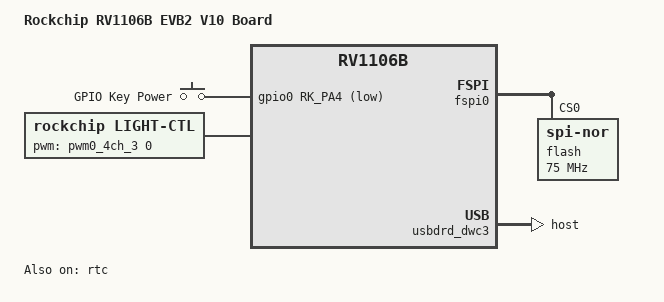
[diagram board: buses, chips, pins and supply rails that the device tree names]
// SPDX-License-Identifier: (GPL-2.0+ OR MIT)
/*
 * Copyright (c) 2026 Rockchip Electronics Co., Ltd.
 */
/dts-v1/;
#include "rv1106b-evb2-v10-normal.dts"

/ {
	model = "Rockchip RV1106B EVB2 V10 Board";
	compatible = "rockchip,rv1106b-evb2-v10-normal-spi-nor", "rockchip,rv1106b";

	gpio-keys {
		compatible = "gpio-keys";
		autorepeat;
		pinctrl-names = "default";
		pinctrl-0 = <&pwr_key>;
		power-key {
			gpios = <&gpio0 RK_PA4 GPIO_ACTIVE_LOW>;
			linux,code = <KEY_POWER>;
			label ="GPIO Key Power";
			debounce-interval = <100>;
			wakeup-source;
			/* gpio-key,wakeup; */
		};
	};

	light-ctl {
		compatible = "rockchip,light-ctl";
		status = "okay";
		pwms = <&pwm0_4ch_3 0 10000 1>;
		rockchip,module-index = <0>; // Same as camera index this light belong to.
	};
};

&fspi0 {
	status = "okay";

	flash@0 {
		compatible = "jedec,spi-nor";
		reg = <0>;
		spi-max-frequency = <75000000>;
		spi-rx-bus-width = <4>;
		spi-tx-bus-width = <1>;
	};
};

&pinctrl {
	buttons {
		pwr_key: pwr-key {
			rockchip,pins = <0 RK_PA4 RK_FUNC_GPIO &pcfg_pull_up>;
		};
	};
};

&rockchip_suspend {
	status = "okay";

	rockchip,sleep-io-config = <
		/* pmic_sleep */
		(0
		| RKPM_IO_CFG_IOMUX_GPIO
		| RKPM_IO_CFG_GPIO_DIR_INPUT
		| RKPM_IO_CFG_PULL_DOWN
		| RKPM_IO_CFG_ID(0)
		)
		(0
		| RKPM_IO_CFG_IOMUX_GPIO
		| RKPM_IO_CFG_GPIO_DIR_INPUT
		| RKPM_IO_CFG_PULL_NONE
		| RKPM_IO_CFG_ID(1)
		)
		(0
		| RKPM_IO_CFG_IOMUX_GPIO
		| RKPM_IO_CFG_GPIO_DIR_INPUT
		| RKPM_IO_CFG_PULL_NONE
		| RKPM_IO_CFG_ID(2)
		)
		(0
		| RKPM_IO_CFG_IOMUX(1)
		| RKPM_IO_CFG_PULL_NONE
		| RKPM_IO_CFG_ID(3)
		)
		(0
		| RKPM_IO_CFG_IOMUX_GPIO
		| RKPM_IO_CFG_GPIO_DIR_INPUT
		| RKPM_IO_CFG_PULL_UP
		| RKPM_IO_CFG_ID(4)
		)
		(0
		| RKPM_IO_CFG_IOMUX_GPIO
		| RKPM_IO_CFG_GPIO_DIR_INPUT
		| RKPM_IO_CFG_PULL_DOWN
		| RKPM_IO_CFG_ID(5)
		)
		(0
		| RKPM_IO_CFG_IOMUX_GPIO
		| RKPM_IO_CFG_GPIO_DIR_INPUT
		| RKPM_IO_CFG_PULL_DOWN
		| RKPM_IO_CFG_ID(6)
		)
	>;
};

&rtc {
	rockchip,rtc-suspend-bypass;
	status = "okay";
};

&sc200ai {
	rockchip,camera-module-stb = <1>;
};

&sc4336p {
	rockchip,camera-module-stb = <1>;
};

&sc450ai {
	rockchip,camera-module-stb = <1>;
};

&usbdrd_dwc3 {
	dr_mode = "host";
};
